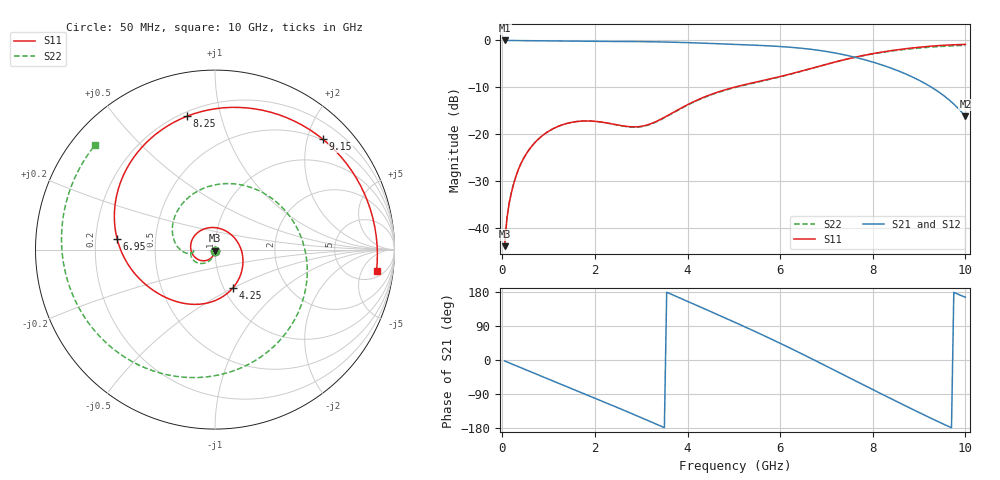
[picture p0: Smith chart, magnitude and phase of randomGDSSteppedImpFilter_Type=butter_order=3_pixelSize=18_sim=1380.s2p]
! freq	dB(S11)	phase(S11)	dB(S12)	phase(S12)
!  dB(S21)	phase(S21)	dB(S22)	phase(S22)
!S-par simulation data
#  GHz  S  DB  R 50
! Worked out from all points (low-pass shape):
!   200 points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, 50 MHz to 10 GHz, reference 50 ohm
!   highest |S21| = 0.00 dB at 50 MHz (marker M1); lowest = -16.2 dB at 10 GHz (marker M2)
!   |S21| within 3 dB of the highest: start of sweep to 7.356 GHz
!   lowest |S11| = -43.8 dB at 50 MHz (marker M3), VSWR 1.01, Z = 50 - j0.642 ohm
!   |S11| at or under -10 dB: start of sweep to 4.999 GHz
!   |S22| runs from -43.8 to -1.0 dB; largest |S21 - S12| = 0
!   S11 on the Smith chart (normalised r, x): 50 MHz: 1.00, -0.01; 4.25 GHz: 1.10, -0.50; 6.95 GHz: 0.29, +0.05; 8.25 GHz: 0.22, +0.79; 9.15 GHz: 0.48, +2.29; 10 GHz: 7, -10
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0.05  -43.84 -91.6  -0.00 -2.6  -0.00 -2.6  -43.81 -90.9
0.1  -37.89 -93.8  -0.01 -5.1  -0.01 -5.1  -37.88 -92.6
0.2  -32.32 -100.1  -0.02 -10.2  -0.02 -10.2  -32.21 -97.4
0.5  -24.46 -119.2  -0.05 -25.4  -0.05 -25.4  -24.45 -112.6
1.15  -18.56 -157.6  -0.13 -58.0  -0.13 -58.0  -18.55 -140.1
1.75  -17.17 163.8  -0.18 -88.1  -0.18 -88.1  -17.18 -162.0
2.5  -18.03 102.9  -0.22 -126.2  -0.22 -126.2  -18.07 -177.3
3.4  -16.90 3.2  -0.31 -173.2  -0.31 -173.2  -17.00 -171.2
4.25  -12.52 -65.5  -0.55 141.4  -0.55 141.4  -12.63 167.2
5.05  -9.87 -108.2  -0.85 97.9  -0.85 97.9  -9.97 123.2
5.45  -8.93 -125.3  -1.01 75.7  -1.01 75.7  -9.03 95.8
5.9  -7.92 -142.9  -1.24 50.0  -1.24 50.0  -8.01 61.6
6.3  -6.95 -158.3  -1.52 26.4  -1.52 26.4  -7.00 29.5
6.7  -5.88 -175.0  -1.93 2.1  -1.93 2.1  -5.91 -2.8
6.95  -5.21 173.6  -2.28 -13.2  -2.28 -13.2  -5.22 -22.5
7.6  -3.61 140.0  -3.54 -53.5  -3.54 -53.5  -3.63 -70.5
8.25  -2.40 101.9  -5.40 -93.4  -5.40 -93.4  -2.47 -113.9
8.35  -2.24 95.8  -5.74 -99.5  -5.74 -99.5  -2.33 -120.3
8.75  -1.72 70.9  -7.31 -123.6  -7.31 -123.6  -1.86 -145.2
9.15  -1.31 45.7  -9.29 -147.4  -9.29 -147.4  -1.50 -169.6
9.6  -1.00 17.3  -12.28 -173.3  -12.28 -173.3  -1.21 163.1
10  -0.84 -7.7  -16.20 165.7  -16.20 165.7  -1.04 138.7
